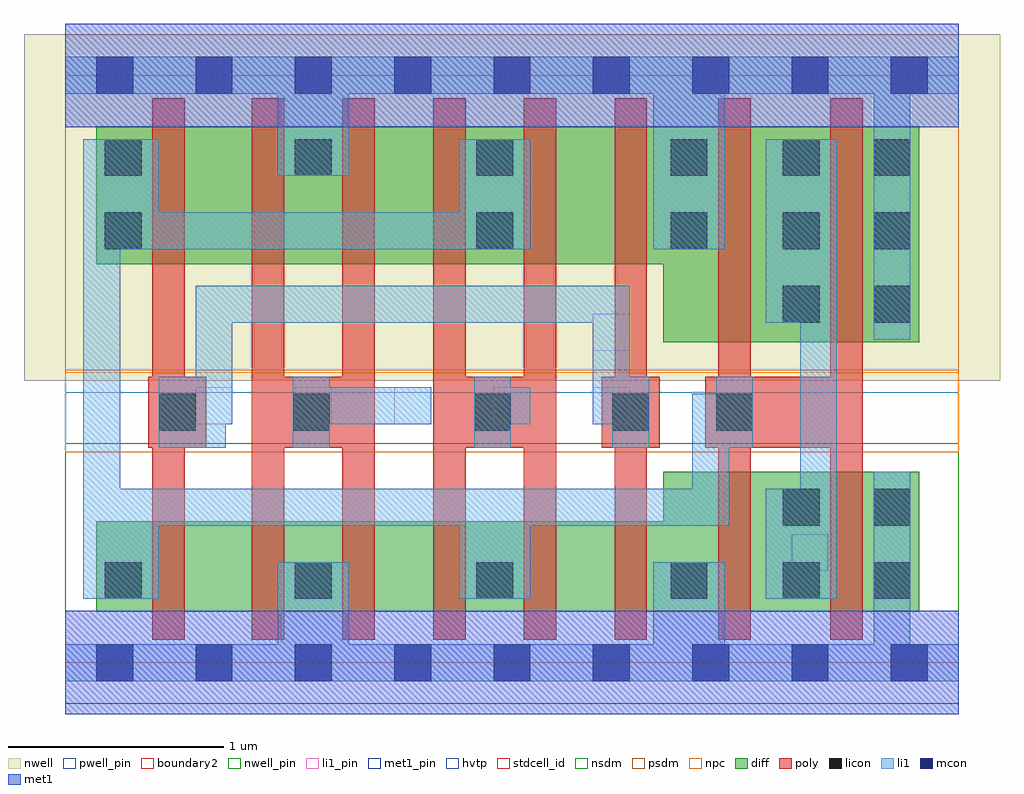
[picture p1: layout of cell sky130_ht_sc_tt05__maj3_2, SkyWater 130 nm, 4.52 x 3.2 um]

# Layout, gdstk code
import gdstk
lib = gdstk.Library(unit=1e-6, precision=1e-09)
def R(c, l, rs):  # rectangles x0, y0, x1, y1
    for r in rs: c.add(gdstk.rectangle(r[:2], r[2:], *l))
def A(c, l, x, y, w, h, nx, ny, dx, dy):  # array of equal rectangles
    R(c, l, [(x+i*dx, y+j*dy, x+i*dx+w, y+j*dy+h) for i in range(nx) for j in range(ny)])
def P(c, l, *ps):  # polygons
    for p in ps: c.add(gdstk.Polygon(p, *l))
nwell_pin = (64, 16)
nwell = (64, 20)
diff = (65, 20)
poly = (66, 20)
licon = (66, 44)
li1_pin = (67, 16)
li1 = (67, 20)
mcon = (67, 44)
met1_pin = (68, 16)
met1 = (68, 20)
hvtp = (78, 44)
stdcell_id = (81, 4)
nsdm = (93, 44)
psdm = (94, 20)
npc = (95, 20)
pwell_pin = (122, 16)
boundary2 = (236, 0)

sky130_ht_sc_tt05__maj3_ = lib.new_cell('sky130_ht_sc_tt05__maj3_2')
R(sky130_ht_sc_tt05__maj3_, nwell_pin, [(0.145,2.635,0.315,2.805)])
R(sky130_ht_sc_tt05__maj3_, nwell, [(-0.19,1.305,4.33,2.91)])
P(sky130_ht_sc_tt05__maj3_, diff, [(0.145,1.845),(2.77,1.845),(2.77,1.485),(3.955,1.485),(3.955,2.485),(0.145,2.485)],
  [(3.955,0.885),(2.77,0.885),(2.77,0.655),(0.145,0.655),(0.145,0.235),(3.955,0.235)])
P(sky130_ht_sc_tt05__maj3_, poly, [(3.175,0.995),(3.545,0.995),(3.545,0.105),(3.695,0.105),(3.695,2.615),(3.545,2.615),(3.545,1.325),(3.175,1.325),(3.175,2.615),(3.025,2.615),(3.025,1.325),(2.965,1.325),(2.965,0.995),(3.025,0.995),(3.025,0.105),(3.175,0.105)],
  [(1.015,0.995),(1.285,0.995),(1.285,0.105),(1.435,0.105),(1.435,2.615),(1.285,2.615),(1.285,1.325),(1.015,1.325),(1.015,2.615),(0.865,2.615),(0.865,0.105),(1.015,0.105)],
  [(0.555,0.995),(0.655,0.995),(0.655,1.325),(0.555,1.325),(0.555,2.615),(0.405,2.615),(0.405,1.325),(0.385,1.325),(0.385,0.995),(0.405,0.995),(0.405,0.105),(0.555,0.105)],
  [(1.855,0.995),(2.125,0.995),(2.125,0.105),(2.275,0.105),(2.275,2.615),(2.125,2.615),(2.125,1.325),(1.855,1.325),(1.855,2.615),(1.705,2.615),(1.705,0.105),(1.855,0.105)],
  [(2.695,0.995),(2.755,0.995),(2.755,1.325),(2.695,1.325),(2.695,2.615),(2.545,2.615),(2.545,1.325),(2.485,1.325),(2.485,0.995),(2.545,0.995),(2.545,0.105),(2.695,0.105)])
A(sky130_ht_sc_tt05__maj3_, licon, 3.325, 1.575, 0.17, 0.17, 1, 3, 0, 0.34)
A(sky130_ht_sc_tt05__maj3_, licon, 3.745, 1.575, 0.17, 0.17, 1, 3, 0, 0.34)
R(sky130_ht_sc_tt05__maj3_, licon, [(0.185,0.295,0.355,0.465), (1.065,0.295,1.235,0.465), (1.905,0.295,2.075,0.465), (2.805,0.295,2.975,0.465), (3.325,0.295,3.495,0.465), (3.745,0.295,3.915,0.465), (3.325,0.635,3.495,0.805), (3.745,0.635,3.915,0.805), (0.435,1.075,0.605,1.245), (1.055,1.075,1.225,1.245), (1.895,1.075,2.065,1.245), (2.535,1.075,2.705,1.245), (3.015,1.075,3.185,1.245), (0.185,1.915,0.355,2.085), (1.905,1.915,2.075,2.085), (2.805,1.915,2.975,2.085), (0.185,2.255,0.355,2.425), (1.065,2.255,1.235,2.425), (1.905,2.255,2.075,2.425), (2.805,2.255,2.975,2.425)])
A(sky130_ht_sc_tt05__maj3_, li1_pin, 0.605, 1.105, 0.17, 0.17, 5, 1, 0.46, 0)
R(sky130_ht_sc_tt05__maj3_, li1_pin, [(3.365,0.425,3.535,0.595), (2.445,1.445,2.615,1.615)])
P(sky130_ht_sc_tt05__maj3_, li1, [(4.14,2.635),(4.14,2.805),(0,2.805),(0,2.635),(0.985,2.635),(0.985,2.255),(1.315,2.255),(1.315,2.635),(2.725,2.635),(2.725,1.915),(3.055,1.915),(3.055,2.635),(3.745,2.635),(3.745,1.495),(3.915,1.495),(3.915,2.635)],
  [(0.435,0.635),(1.825,0.635),(1.825,0.295),(2.155,0.295),(2.155,0.635),(3.075,0.635),(3.075,0.995),(3.185,0.995),(3.185,1.325),(3.015,1.325),(3.015,1.245),(2.905,1.245),(2.905,0.805),(0.255,0.805),(0.255,1.915),(2.155,1.915),(2.155,2.425),(1.825,2.425),(1.825,2.085),(0.435,2.085),(0.435,2.425),(0.085,2.425),(0.085,0.295),(0.435,0.295)],
  [(3.575,2.425),(3.245,2.425),(3.245,1.575),(3.405,1.575),(3.405,0.805),(3.245,0.805),(3.245,0.295),(3.575,0.295)],
  [(0.745,1.105),(0.775,1.105),(0.775,1.575),(2.445,1.575),(2.445,1.105),(2.535,1.105),(2.535,0.995),(2.705,0.995),(2.705,1.325),(2.615,1.325),(2.615,1.745),(0.605,1.745),(0.605,1.325),(0.435,1.325),(0.435,0.995),(0.745,0.995)],
  [(1.225,1.105),(1.695,1.105),(1.695,1.275),(1.225,1.275),(1.225,1.325),(1.055,1.325),(1.055,0.995),(1.225,0.995)],
  [(2.065,1.105),(2.155,1.105),(2.155,1.275),(2.065,1.275),(2.065,1.325),(1.895,1.325),(1.895,0.995),(2.065,0.995)],
  [(4.14,0.085),(3.915,0.085),(3.915,0.885),(3.745,0.885),(3.745,0.085),(3.055,0.085),(3.055,0.465),(2.725,0.465),(2.725,0.085),(1.315,0.085),(1.315,0.465),(0.985,0.465),(0.985,0.085),(0,0.085),(0,-0.085),(4.14,-0.085)])
A(sky130_ht_sc_tt05__maj3_, mcon, 0.145, -0.085, 0.17, 0.17, 9, 2, 0.46, 2.72)
R(sky130_ht_sc_tt05__maj3_, met1_pin, [(0.145,-0.085,0.315,0.085), (0.145,2.635,0.315,2.805)])
R(sky130_ht_sc_tt05__maj3_, hvtp, [(0,1.25,4.14,2.72)])
R(sky130_ht_sc_tt05__maj3_, stdcell_id, [(0,0,4.14,2.72)])
R(sky130_ht_sc_tt05__maj3_, nsdm, [(0,-0.19,4.14,1.015)])
R(sky130_ht_sc_tt05__maj3_, psdm, [(0,1.355,4.14,2.91)])
R(sky130_ht_sc_tt05__maj3_, npc, [(0,0.975,4.14,1.345)])
R(sky130_ht_sc_tt05__maj3_, pwell_pin, [(0.145,-0.085,0.315,0.085)])
R(sky130_ht_sc_tt05__maj3_, boundary2, [(0,0,4.14,2.72)])
sky130_ht_sc_tt05__maj3_.add(gdstk.FlexPath([(0,0),(4.14,0)], 0.48, ends="flush", simple_path=True, layer=68, datatype=20))  # met1
sky130_ht_sc_tt05__maj3_.add(gdstk.FlexPath([(0,2.72),(4.14,2.72)], 0.48, ends="flush", simple_path=True, layer=68, datatype=20))  # met1

lib.write_gds('sky130_ht_sc_tt05__maj3_2.gds')
